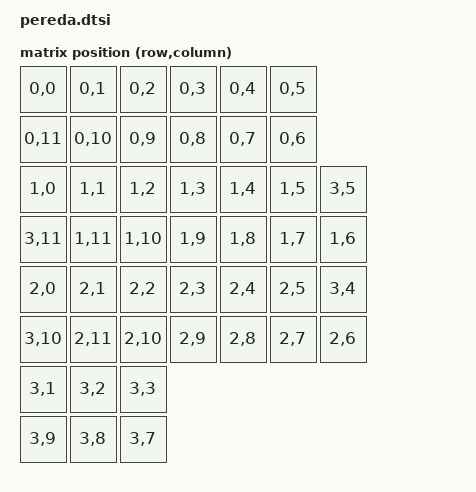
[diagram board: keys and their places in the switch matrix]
#include <dt-bindings/gpio/gpio.h>
#include <dt-bindings/zmk/matrix_transform.h>

/ {

    default_transform: matrix_transform {
        compatible = "zmk,matrix-transform";

        rows = <4>;
        columns = <12>;

        map = <
            /* EQUAL Q W E R T | Y U I O P MINUS */
            RC(0,0) RC(0,1) RC(0,2) RC(0,3) RC(0,4) RC(0,5)
            RC(0,11) RC(0,10) RC(0,9) RC(0,8) RC(0,7) RC(0,6)

            /* DEL A S D F G SPACE | LBKT H J K L SEMI APOS */
            RC(1,0) RC(1,1) RC(1,2) RC(1,3) RC(1,4) RC(1,5) RC(3,5)
            RC(3,11) RC(1,11) RC(1,10) RC(1,9) RC(1,8) RC(1,7) RC(1,6)

            /* LSHIFT Z X C V B LALT | RBKT N M COMMA DOT FSLH RSHIFT */
            RC(2,0) RC(2,1) RC(2,2) RC(2,3) RC(2,4) RC(2,5) RC(3,4)
            RC(3,10) RC(2,11) RC(2,10) RC(2,9) RC(2,8) RC(2,7) RC(2,6)

            /* LGUI TAB ESC | RET SPACE BSPC */
            RC(3,1) RC(3,2) RC(3,3)
            RC(3,9) RC(3,8) RC(3,7)
        >;
    };
};

#include "pereda_layouts.dtsi"

&uart0 {
    status = "disabled";
};
